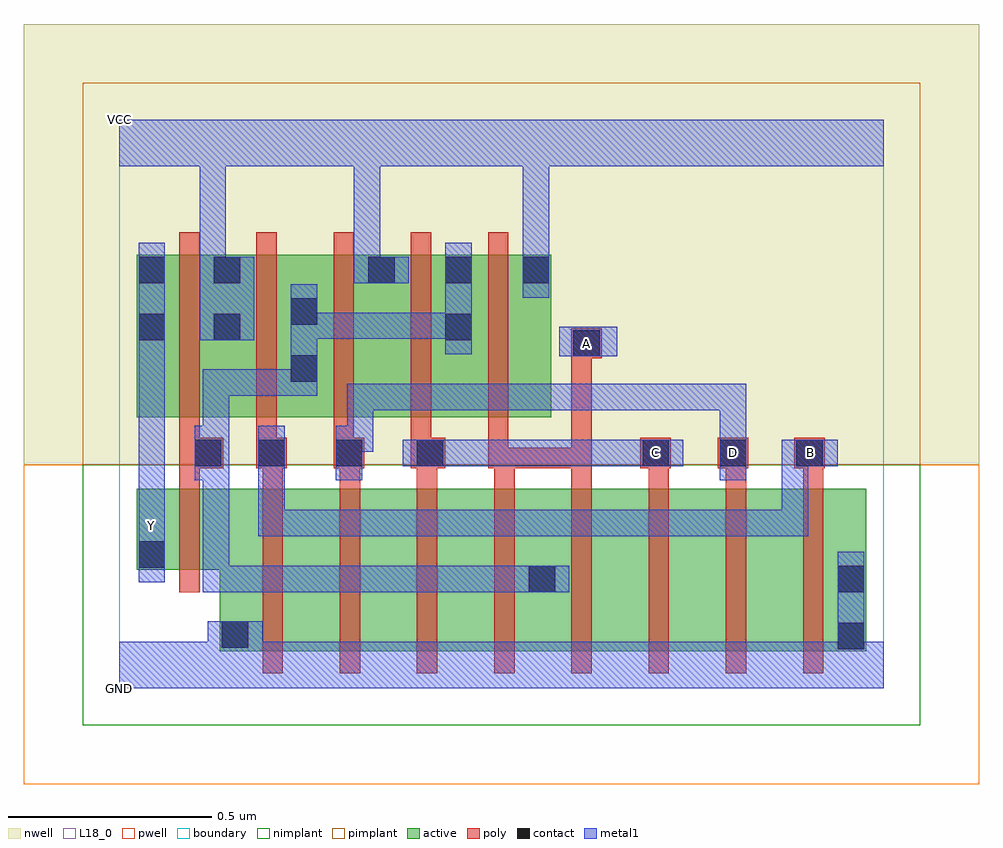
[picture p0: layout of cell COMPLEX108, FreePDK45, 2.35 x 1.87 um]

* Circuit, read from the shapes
.subckt COMPLEX108 A B C D GND VCC Y
M1 GND n1 Y VSUBS nfet w=0.2u l=0.05u
M2 n2 B GND VSUBS nfet w=0.4u l=0.05u
M3 n3 D n2 VSUBS nfet w=0.4u l=0.05u
M4 n4 C n3 VSUBS nfet w=0.4u l=0.05u
M5 n1 A n4 VSUBS nfet w=0.4u l=0.05u
M6 n5 A n1 VSUBS nfet w=0.4u l=0.05u
M7 n6 C n5 VSUBS nfet w=0.4u l=0.05u
M8 n7 D n6 VSUBS nfet w=0.4u l=0.05u
M9 GND B n7 VSUBS nfet w=0.4u l=0.05u
M10 VCC n1 Y n8 pfet w=0.4u l=0.05u
M11 n1 B VCC n8 pfet w=0.4u l=0.05u
M12 VCC D n1 n8 pfet w=0.4u l=0.05u
M13 n1 C VCC n8 pfet w=0.4u l=0.05u
M14 VCC A n1 n8 pfet w=0.4u l=0.05u
.ends

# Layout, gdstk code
import gdstk
lib = gdstk.Library(unit=1e-6, precision=1e-09)
def R(c, l, rs):  # rectangles x0, y0, x1, y1
    for r in rs: c.add(gdstk.rectangle(r[:2], r[2:], *l))
def A(c, l, x, y, w, h, nx, ny, dx, dy):  # array of equal rectangles
    R(c, l, [(x+i*dx, y+j*dy, x+i*dx+w, y+j*dy+h) for i in range(nx) for j in range(ny)])
active = (1, 0)
pwell = (2, 0)
nwell = (3, 0)
nimplant = (4, 0)
pimplant = (5, 0)
poly = (9, 0)
contact = (10, 0)
metal1 = (11, 0)
L18_0 = (18, 0)
boundary = (235, 0)

complex108 = lib.new_cell('COMPLEX108')
A(complex108, active, 0.227, 0.667, 0.265, 0.4, 4, 1, 0.19, 0)
R(complex108, active, [(0.247,0.092,0.472,0.492), (0.247,0.092,0.322,0.31), (0.472,0.092,0.662,0.492), (0.662,0.092,0.852,0.492), (0.852,0.092,1.077,0.492), (1.002,0.092,1.232,0.492), (1.232,0.092,1.422,0.492), (1.422,0.092,1.612,0.492), (1.612,0.092,1.837,0.492), (1.762,0.092,1.837,0.492), (1.002,0.095,1.077,0.492), (0.042,0.292,0.322,0.492), (0.042,0.292,0.117,0.492), (0.042,0.667,0.117,1.067), (0.042,0.667,0.302,1.067), (0.417,0.667,0.492,1.067), (0.987,0.72,1.062,1.067), (0.227,0.802,0.302,1.067), (0.797,0.802,0.872,1.067), (0.607,0.907,0.682,1.067)])
R(complex108, pwell, [(-0.235,-0.235,2.115,0.55)])
R(complex108, nwell, [(-0.235,0.55,2.115,1.635)])
R(complex108, nimplant, [(-0.09,-0.09,1.97,0.55)])
R(complex108, pimplant, [(-0.09,0.55,1.97,1.49)])
A(complex108, poly, 0.352, 0.037, 0.05, 0.51, 8, 1, 0.19, 0)
A(complex108, poly, 0.352, 0.497, 0.05, 0.095, 8, 1, 0.19, 0)
A(complex108, poly, 0.147, 0.567, 0.05, 0.095, 4, 1, 0.19, 0)
A(complex108, poly, 0.147, 0.612, 0.05, 0.51, 5, 1, 0.19, 0)
R(complex108, poly, [(0.147,0.237,0.197,0.547), (0.147,0.497,0.197,0.592), (0.147,0.542,0.255,0.617), (0.337,0.542,0.412,0.617), (0.527,0.542,0.602,0.617), (0.717,0.542,0.802,0.617), (0.907,0.542,0.957,0.662), (0.907,0.542,0.972,0.592), (0.922,0.542,0.972,0.592), (0.922,0.542,0.972,0.592), (0.922,0.542,1.162,0.592), (1.112,0.542,1.162,0.862), (1.112,0.542,1.162,0.592), (1.112,0.542,1.162,0.592), (1.112,0.542,1.162,0.592), (1.282,0.542,1.357,0.617), (1.472,0.542,1.547,0.617), (1.66,0.542,1.735,0.617), (1.112,0.812,1.187,0.887)])
A(complex108, contact, 0.612, 0.997, 0.065, 0.065, 3, 1, 0.19, 0)
R(complex108, contact, [(1.767,0.097,1.832,0.162), (0.252,0.1,0.317,0.165), (1.007,0.237,1.072,0.302), (1.767,0.237,1.832,0.302), (0.047,0.297,0.112,0.362), (0.185,0.547,0.25,0.612), (0.342,0.547,0.407,0.612), (0.532,0.547,0.597,0.612), (0.732,0.547,0.797,0.612), (1.287,0.547,1.352,0.612), (1.477,0.547,1.542,0.612), (1.665,0.547,1.73,0.612), (0.422,0.755,0.487,0.82), (1.117,0.817,1.182,0.882), (0.047,0.857,0.112,0.922), (0.232,0.857,0.297,0.922), (0.802,0.857,0.867,0.922), (0.422,0.895,0.487,0.96), (0.047,0.997,0.112,1.062), (0.232,0.997,0.297,1.062)])
R(complex108, metal1, [(0,0,1.88,0.115), (0.287,0.05,0.352,0.165), (1.767,0.05,1.832,0.127), (1.767,0.062,1.832,0.337), (0.217,0.1,0.352,0.165), (0.205,0.237,0.27,0.302), (0.205,0.237,0.46,0.302), (0.205,0.237,0.27,0.577), (0.395,0.237,0.46,0.302), (0.395,0.237,0.46,0.302), (0.395,0.237,0.46,0.302), (0.395,0.237,0.625,0.302), (0.56,0.237,0.625,0.302), (0.56,0.237,0.625,0.302), (0.56,0.237,0.625,0.302), (0.56,0.237,0.762,0.302), (0.697,0.237,0.762,0.302), (0.697,0.237,0.762,0.302), (0.697,0.237,0.762,0.302), (0.697,0.237,0.99,0.302), (0.925,0.237,0.99,0.302), (0.925,0.237,1.037,0.302), (0.972,0.237,1.107,0.302), (0.047,0.262,0.112,0.397), (0.047,0.332,0.112,0.397), (0.047,0.332,0.112,0.467), (0.342,0.375,0.407,0.44), (0.342,0.375,0.625,0.44), (0.342,0.375,0.407,0.577), (0.56,0.375,0.625,0.44), (0.56,0.375,0.625,0.44), (0.56,0.375,0.625,0.44), (0.56,0.375,0.852,0.44), (0.787,0.375,0.852,0.44), (0.787,0.375,0.852,0.44), (0.787,0.375,0.852,0.44), (0.787,0.375,0.99,0.44), (0.925,0.375,0.99,0.44), (0.925,0.375,0.99,0.44), (0.925,0.375,0.99,0.44), (0.925,0.375,1.127,0.44), (1.062,0.375,1.127,0.44), (1.062,0.375,1.265,0.44), (1.2,0.375,1.265,0.44), (1.2,0.375,1.405,0.44), (1.34,0.375,1.405,0.44), (1.34,0.375,1.405,0.44), (1.34,0.375,1.405,0.44), (1.34,0.375,1.542,0.44), (1.477,0.375,1.542,0.44), (1.477,0.375,1.695,0.44), (1.63,0.375,1.695,0.44), (1.63,0.375,1.695,0.612), (0.047,0.402,0.112,0.887), (0.185,0.512,0.25,0.647), (0.185,0.512,0.27,0.577), (0.205,0.512,0.27,0.577), (0.205,0.512,0.27,0.577), (0.205,0.512,0.27,0.577), (0.205,0.512,0.27,0.785), (0.342,0.512,0.407,0.577), (0.342,0.512,0.407,0.577), (0.342,0.512,0.407,0.647), (0.532,0.512,0.597,0.647), (1.477,0.512,1.542,0.647), (0.697,0.547,0.832,0.612), (0.767,0.547,0.832,0.612), (0.767,0.547,0.832,0.612), (0.767,0.547,0.99,0.612), (0.925,0.547,0.99,0.612), (0.925,0.547,1.127,0.612), (1.062,0.547,1.127,0.612), (1.062,0.547,1.127,0.612), (1.062,0.547,1.127,0.612), (1.062,0.547,1.265,0.612), (1.2,0.547,1.265,0.612), (1.2,0.547,1.317,0.612), (1.252,0.547,1.387,0.612), (1.63,0.547,1.695,0.612), (1.63,0.547,1.695,0.612), (1.63,0.547,1.767,0.612), (0.532,0.582,0.625,0.647), (0.56,0.582,0.625,0.647), (0.56,0.582,0.625,0.75), (1.477,0.582,1.542,0.647), (1.477,0.582,1.542,0.647), (1.477,0.582,1.542,0.75), (0.56,0.685,0.625,0.75), (0.56,0.685,0.852,0.75), (0.787,0.685,0.852,0.75), (0.787,0.685,0.852,0.75), (0.787,0.685,0.852,0.75), (0.787,0.685,0.99,0.75), (0.925,0.685,0.99,0.75), (0.925,0.685,0.99,0.75), (0.925,0.685,0.99,0.75), (0.925,0.685,1.127,0.75), (1.062,0.685,1.127,0.75), (1.062,0.685,1.267,0.75), (1.202,0.685,1.267,0.75), (1.202,0.685,1.405,0.75), (1.34,0.685,1.405,0.75), (1.34,0.685,1.542,0.75), (1.477,0.685,1.542,0.75), (0.205,0.72,0.27,0.785), (0.205,0.72,0.46,0.785), (0.395,0.72,0.46,0.785), (0.395,0.72,0.487,0.785), (0.422,0.72,0.487,0.995), (1.082,0.817,1.225,0.89), (0.047,0.822,0.112,1.097), (0.802,0.822,0.867,1.097), (0.197,0.857,0.332,1.062), (0.422,0.86,0.487,0.925), (0.422,0.86,0.487,0.995), (0.422,0.86,0.625,0.925), (0.56,0.86,0.625,0.925), (0.56,0.86,0.625,0.925), (0.56,0.86,0.625,0.925), (0.56,0.86,0.852,0.925), (0.787,0.86,0.852,0.925), (0.787,0.86,0.867,0.925), (0.992,0.962,1.057,1.097), (0.197,0.997,0.262,1.062), (0.197,0.997,0.262,1.062), (0.197,0.997,0.262,1.35), (0.577,0.997,0.642,1.062), (0.577,0.997,0.642,1.062), (0.577,0.997,0.712,1.062), (0.577,0.997,0.642,1.35), (0.992,1.032,1.057,1.097), (0.992,1.032,1.057,1.097), (0.992,1.032,1.057,1.35), (0,1.285,1.88,1.4)])
R(complex108, L18_0, [(0,0,1.88,0.115), (0.287,0.05,0.352,0.165), (1.767,0.05,1.832,0.127), (1.767,0.062,1.832,0.337), (0.217,0.1,0.352,0.165), (0.047,0.262,0.112,0.397), (0.047,0.332,0.112,0.467), (0.047,0.332,0.112,0.397), (0.047,0.367,0.112,0.432), (0.342,0.375,0.407,0.44), (0.342,0.375,0.407,0.577), (0.342,0.375,0.625,0.44), (0.56,0.375,0.625,0.44), (0.56,0.375,0.625,0.44), (0.56,0.375,0.625,0.44), (0.56,0.375,0.852,0.44), (0.787,0.375,0.852,0.44), (0.787,0.375,0.852,0.44), (0.787,0.375,0.852,0.44), (0.787,0.375,0.99,0.44), (0.925,0.375,0.99,0.44), (0.925,0.375,0.99,0.44), (0.925,0.375,0.99,0.44), (0.925,0.375,1.127,0.44), (1.062,0.375,1.127,0.44), (1.062,0.375,1.265,0.44), (1.2,0.375,1.265,0.44), (1.2,0.375,1.405,0.44), (1.34,0.375,1.405,0.44), (1.34,0.375,1.405,0.44), (1.34,0.375,1.405,0.44), (1.34,0.375,1.542,0.44), (1.477,0.375,1.542,0.44), (1.477,0.375,1.695,0.44), (1.63,0.375,1.695,0.44), (1.63,0.375,1.695,0.612), (0.047,0.402,0.112,0.887), (0.342,0.512,0.407,0.647), (0.342,0.512,0.407,0.577), (0.342,0.512,0.407,0.577), (0.532,0.512,0.597,0.647), (1.477,0.512,1.542,0.647), (0.697,0.547,0.832,0.612), (0.767,0.547,0.832,0.612), (0.767,0.547,0.832,0.612), (0.767,0.547,0.99,0.612), (0.925,0.547,0.99,0.612), (0.925,0.547,1.127,0.612), (1.062,0.547,1.127,0.612), (1.062,0.547,1.127,0.612), (1.062,0.547,1.127,0.612), (1.062,0.547,1.265,0.612), (1.2,0.547,1.265,0.612), (1.2,0.547,1.317,0.612), (1.252,0.547,1.387,0.612), (1.287,0.547,1.352,0.612), (1.477,0.547,1.542,0.612), (1.63,0.547,1.695,0.612), (1.63,0.547,1.695,0.612), (1.63,0.547,1.767,0.612), (1.667,0.547,1.732,0.612), (0.532,0.582,0.625,0.647), (0.56,0.582,0.625,0.647), (0.56,0.582,0.625,0.75), (1.477,0.582,1.542,0.647), (1.477,0.582,1.542,0.647), (1.477,0.582,1.542,0.75), (0.56,0.685,0.625,0.75), (0.56,0.685,0.852,0.75), (0.787,0.685,0.852,0.75), (0.787,0.685,0.852,0.75), (0.787,0.685,0.852,0.75), (0.787,0.685,0.99,0.75), (0.925,0.685,0.99,0.75), (0.925,0.685,0.99,0.75), (0.925,0.685,0.99,0.75), (0.925,0.685,1.127,0.75), (1.062,0.685,1.127,0.75), (1.062,0.685,1.267,0.75), (1.202,0.685,1.267,0.75), (1.202,0.685,1.405,0.75), (1.34,0.685,1.405,0.75), (1.34,0.685,1.542,0.75), (1.477,0.685,1.542,0.75), (1.082,0.817,1.225,0.89), (1.117,0.817,1.182,0.882), (0.047,0.822,0.112,1.097), (0.197,0.857,0.332,1.062), (0.992,0.962,1.057,1.097), (0.197,0.997,0.262,1.062), (0.197,0.997,0.262,1.062), (0.197,0.997,0.262,1.35), (0.577,0.997,0.642,1.062), (0.577,0.997,0.642,1.062), (0.577,0.997,0.712,1.062), (0.577,0.997,0.642,1.35), (0.992,1.032,1.057,1.097), (0.992,1.032,1.057,1.097), (0.992,1.032,1.057,1.35), (0,1.285,1.88,1.4)])
R(complex108, boundary, [(0,0,1.88,1.4)])
complex108.add(gdstk.Label('A', (1.15,0.85), layer=11, texttype=0))
complex108.add(gdstk.Label('B', (1.7,0.58), layer=11, texttype=0))
complex108.add(gdstk.Label('C', (1.32,0.58), layer=11, texttype=0))
complex108.add(gdstk.Label('D', (1.51,0.58), layer=11, texttype=0))
complex108.add(gdstk.Label('Y', (0.08,0.4), layer=11, texttype=0))
complex108.add(gdstk.Label('VCC', (0,1.4), layer=11, texttype=0))
complex108.add(gdstk.Label('GND', (0,0), layer=11, texttype=0))

lib.write_gds('COMPLEX108.gds')
